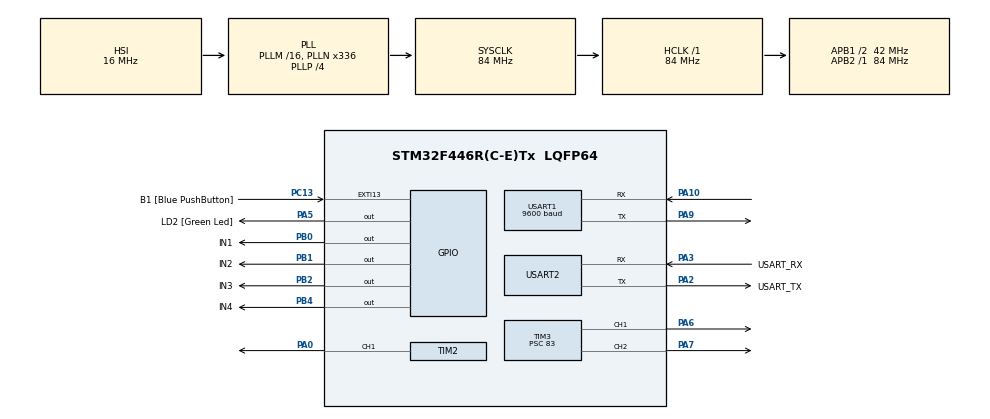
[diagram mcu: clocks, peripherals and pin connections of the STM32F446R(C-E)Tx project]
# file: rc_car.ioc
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Mcu.Family=STM32F4
Mcu.Name=STM32F446R(C-E)Tx
Mcu.Package=LQFP64
NVIC.PriorityGroup=NVIC_PRIORITYGROUP_0
NVIC.USART1_IRQn=true\:0\:0\:false\:false\:true\:true\:true\:true
PA0-WKUP.Signal=S_TIM2_CH1_ETR
PA10.Mode=Asynchronous
PA10.Signal=USART1_RX
PA13.GPIO_Label=TMS
PA13.Mode=Serial_Wire
PA13.Signal=SYS_JTMS-SWDIO
PA14.GPIO_Label=TCK
PA14.Mode=Serial_Wire
PA14.Signal=SYS_JTCK-SWCLK
PA2.GPIO_Label=USART_TX
PA2.Mode=Asynchronous
PA2.Signal=USART2_TX
PA3.GPIO_Label=USART_RX
PA3.Mode=Asynchronous
PA3.Signal=USART2_RX
PA5.GPIO_Label=LD2 [Green Led]
PA5.Signal=GPIO_Output
PA6.Signal=S_TIM3_CH1
PA7.Signal=S_TIM3_CH2
PA9.Mode=Asynchronous
PA9.Signal=USART1_TX
PB0.GPIO_Label=IN1
PB0.Signal=GPIO_Output
PB1.GPIO_Label=IN2
PB1.Signal=GPIO_Output
PB2.GPIO_Label=IN3
PB2.Signal=GPIO_Output
PB3.GPIO_Label=SWO
PB3.Signal=SYS_JTDO-SWO
PB4.GPIO_Label=IN4
PB4.Signal=GPIO_Output
PC13.GPIO_Label=B1 [Blue PushButton]
PC13.GPIO_ModeDefaultEXTI=GPIO_MODE_IT_FALLING
PC13.Signal=GPXTI13
PC14-OSC32_IN.Mode=LSE-External-Oscillator
PC14-OSC32_IN.Signal=RCC_OSC32_IN
PC15-OSC32_OUT.Mode=LSE-External-Oscillator
PC15-OSC32_OUT.Signal=RCC_OSC32_OUT
PH0-OSC_IN.Mode=HSE-External-Oscillator
PH0-OSC_IN.Signal=RCC_OSC_IN
PH1-OSC_OUT.Mode=HSE-External-Oscillator
PH1-OSC_OUT.Signal=RCC_OSC_OUT
ProjectManager.HeapSize=0x200
ProjectManager.StackSize=0x400
ProjectManager.TargetToolchain=STM32CubeIDE
RCC.48MHZClocksFreq_Value=84000000
RCC.AHBFreq_Value=84000000
RCC.APB1CLKDivider=RCC_HCLK_DIV2
RCC.APB1Freq_Value=42000000
RCC.APB1TimFreq_Value=84000000
RCC.APB2Freq_Value=84000000
RCC.APB2TimFreq_Value=84000000
RCC.CortexFreq_Value=84000000
RCC.FLatency-AdvancedSettings=FLASH_LATENCY_2
RCC.HCLKFreq_Value=84000000
RCC.HSE_VALUE=8000000
RCC.HSI_VALUE=16000000
RCC.PLLN=336
RCC.PLLP=RCC_PLLP_DIV4
RCC.SYSCLKFreq_VALUE=84000000
RCC.SYSCLKSource=RCC_SYSCLKSOURCE_PLLCLK
RCC.USBFreq_Value=168000000
RCC.VCOOutputFreq_Value=336000000
SH.S_TIM2_CH1_ETR.0=TIM2_CH1,PWM Generation1 CH1
SH.S_TIM3_CH1.0=TIM3_CH1,PWM Generation1 CH1
SH.S_TIM3_CH2.0=TIM3_CH2,PWM Generation2 CH2
TIM2.Channel-PWM\ Generation1\ CH1=TIM_CHANNEL_1
TIM2.Period=19999
TIM2.Prescaler=83
TIM2.Pulse-PWM\ Generation1\ CH1=1500
TIM3.Channel-PWM\ Generation1\ CH1=TIM_CHANNEL_1
TIM3.Channel-PWM\ Generation2\ CH2=TIM_CHANNEL_2
TIM3.Period=999
TIM3.Prescaler=83
USART1.BaudRate=9600
USART1.VirtualMode=VM_ASYNC
USART2.VirtualMode=VM_ASYNC
VP_TIM2_VS_ClockSourceINT.Mode=Internal
VP_TIM3_VS_ClockSourceINT.Mode=Internal
board=NUCLEO-F446RE

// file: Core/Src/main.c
/* USER CODE BEGIN Header */
/**
  ******************************************************************************
  * @file           : main.c
  * @brief          : Main program body
  ******************************************************************************
  * @attention
  *
  * Copyright (c) 2026 STMicroelectronics.
  * All rights reserved.
  *
  * This software is licensed under terms that can be found in the LICENSE file
  * in the root directory of this software component.
  * If no LICENSE file comes with this software, it is provided AS-IS.
  *
  ******************************************************************************
  */
/* USER CODE END Header */
#include "main.h"

/* USER CODE BEGIN PD */
/* 서보(조향) 펄스폭 범위 — 단위: us. TIM2가 1us 단위로 셈 */
#define SERVO_CENTER  1500   /* 정면 */
#define SERVO_LEFT    1100   /* 좌 최대 (안전 제한) */
#define SERVO_RIGHT   1900   /* 우 최대 (안전 제한) */

/* 모터 듀티 범위 — TIM3 Period(999) 기준, 0~999 = 0~100% */
#define MOTOR_MAX     999
/* USER CODE END PD */

TIM_HandleTypeDef htim2;
TIM_HandleTypeDef htim3;

UART_HandleTypeDef huart1;
UART_HandleTypeDef huart2;

/* USER CODE BEGIN PV */
uint8_t rx_byte;          /* 블루투스에서 받은 1바이트 */
int16_t cur_speed = 600;  /* 현재 속도단계 (0~999), 기본 600 */
/* USER CODE END PV */

void SystemClock_Config(void);
static void MX_GPIO_Init(void);
static void MX_USART2_UART_Init(void);
static void MX_USART1_UART_Init(void);
static void MX_TIM2_Init(void);
static void MX_TIM3_Init(void);
/* USER CODE BEGIN PFP */
void Servo_Write(uint16_t pulse_us);   /* 조향 서보 각도(펄스폭) 설정 */
void Motor_Drive(int16_t speed);       /* 구동모터 속도+방향 (-999~+999) */
/* USER CODE END PFP */

int main(void)
{

  /* MCU Configuration--------------------------------------------------------*/

  /* Reset of all peripherals, Initializes the Flash interface and the Systick. */
  HAL_Init();

  /* Configure the system clock */
  SystemClock_Config();

  /* Initialize all configured peripherals */
  MX_GPIO_Init();
  MX_USART2_UART_Init();
  MX_USART1_UART_Init();
  MX_TIM2_Init();
  MX_TIM3_Init();
  /* USER CODE BEGIN 2 */
  /* PWM 출력 시작 */
  HAL_TIM_PWM_Start(&htim2, TIM_CHANNEL_1);  /* 서보 */
  HAL_TIM_PWM_Start(&htim3, TIM_CHANNEL_1);  /* 모터L 속도(ENA) */
  HAL_TIM_PWM_Start(&htim3, TIM_CHANNEL_2);  /* 모터R 속도(ENB) */

  /* 시작 상태: 바퀴 정면 + 모터 정지 (안전) */
  Servo_Write(SERVO_CENTER);
  Motor_Drive(0);

  /* 블루투스 수신 시작 — 1바이트 받으면 인터럽트로 콜백 호출 */
  HAL_UART_Receive_IT(&huart1, &rx_byte, 1);
  /* USER CODE END 2 */

  /* Infinite loop */
  while (1)
  {

  }
}

void SystemClock_Config(void)
{
  RCC_OscInitTypeDef RCC_OscInitStruct = {0};
  RCC_ClkInitTypeDef RCC_ClkInitStruct = {0};

  /** Configure the main internal regulator output voltage
  */
  __HAL_RCC_PWR_CLK_ENABLE();
  __HAL_PWR_VOLTAGESCALING_CONFIG(PWR_REGULATOR_VOLTAGE_SCALE3);

  /** Initializes the RCC Oscillators according to the specified parameters
  * in the RCC_OscInitTypeDef structure.
  */
  RCC_OscInitStruct.OscillatorType = RCC_OSCILLATORTYPE_HSI;
  RCC_OscInitStruct.HSIState = RCC_HSI_ON;
  RCC_OscInitStruct.HSICalibrationValue = RCC_HSICALIBRATION_DEFAULT;
  RCC_OscInitStruct.PLL.PLLState = RCC_PLL_ON;
  RCC_OscInitStruct.PLL.PLLSource = RCC_PLLSOURCE_HSI;
  RCC_OscInitStruct.PLL.PLLM = 16;
  RCC_OscInitStruct.PLL.PLLN = 336;
  RCC_OscInitStruct.PLL.PLLP = RCC_PLLP_DIV4;
  RCC_OscInitStruct.PLL.PLLQ = 2;
  RCC_OscInitStruct.PLL.PLLR = 2;
  if (HAL_RCC_OscConfig(&RCC_OscInitStruct) != HAL_OK)
  {
    Error_Handler();
  }

  /** Initializes the CPU, AHB and APB buses clocks
  */
  RCC_ClkInitStruct.ClockType = RCC_CLOCKTYPE_HCLK|RCC_CLOCKTYPE_SYSCLK
                              |RCC_CLOCKTYPE_PCLK1|RCC_CLOCKTYPE_PCLK2;
  RCC_ClkInitStruct.SYSCLKSource = RCC_SYSCLKSOURCE_PLLCLK;
  RCC_ClkInitStruct.AHBCLKDivider = RCC_SYSCLK_DIV1;
  RCC_ClkInitStruct.APB1CLKDivider = RCC_HCLK_DIV2;
  RCC_ClkInitStruct.APB2CLKDivider = RCC_HCLK_DIV1;

  if (HAL_RCC_ClockConfig(&RCC_ClkInitStruct, FLASH_LATENCY_2) != HAL_OK)
  {
    Error_Handler();
  }
}

static void MX_TIM2_Init(void)
{

  TIM_ClockConfigTypeDef sClockSourceConfig = {0};
  TIM_MasterConfigTypeDef sMasterConfig = {0};
  TIM_OC_InitTypeDef sConfigOC = {0};

  htim2.Instance = TIM2;
  htim2.Init.Prescaler = 83;
  htim2.Init.CounterMode = TIM_COUNTERMODE_UP;
  htim2.Init.Period = 19999;
  htim2.Init.ClockDivision = TIM_CLOCKDIVISION_DIV1;
  htim2.Init.AutoReloadPreload = TIM_AUTORELOAD_PRELOAD_DISABLE;
  if (HAL_TIM_Base_Init(&htim2) != HAL_OK)
  {
    Error_Handler();
  }
  sClockSourceConfig.ClockSource = TIM_CLOCKSOURCE_INTERNAL;
  if (HAL_TIM_ConfigClockSource(&htim2, &sClockSourceConfig) != HAL_OK)
  {
    Error_Handler();
  }
  if (HAL_TIM_PWM_Init(&htim2) != HAL_OK)
  {
    Error_Handler();
  }
  sMasterConfig.MasterOutputTrigger = TIM_TRGO_RESET;
  sMasterConfig.MasterSlaveMode = TIM_MASTERSLAVEMODE_DISABLE;
  if (HAL_TIMEx_MasterConfigSynchronization(&htim2, &sMasterConfig) != HAL_OK)
  {
    Error_Handler();
  }
  sConfigOC.OCMode = TIM_OCMODE_PWM1;
  sConfigOC.Pulse = 1500;
  sConfigOC.OCPolarity = TIM_OCPOLARITY_HIGH;
  sConfigOC.OCFastMode = TIM_OCFAST_DISABLE;
  if (HAL_TIM_PWM_ConfigChannel(&htim2, &sConfigOC, TIM_CHANNEL_1) != HAL_OK)
  {
    Error_Handler();
  }
  HAL_TIM_MspPostInit(&htim2);

}

static void MX_TIM3_Init(void)
{

  TIM_ClockConfigTypeDef sClockSourceConfig = {0};
  TIM_MasterConfigTypeDef sMasterConfig = {0};
  TIM_OC_InitTypeDef sConfigOC = {0};

  htim3.Instance = TIM3;
  htim3.Init.Prescaler = 83;
  htim3.Init.CounterMode = TIM_COUNTERMODE_UP;
  htim3.Init.Period = 999;
  htim3.Init.ClockDivision = TIM_CLOCKDIVISION_DIV1;
  htim3.Init.AutoReloadPreload = TIM_AUTORELOAD_PRELOAD_DISABLE;
  if (HAL_TIM_Base_Init(&htim3) != HAL_OK)
  {
    Error_Handler();
  }
  sClockSourceConfig.ClockSource = TIM_CLOCKSOURCE_INTERNAL;
  if (HAL_TIM_ConfigClockSource(&htim3, &sClockSourceConfig) != HAL_OK)
  {
    Error_Handler();
  }
  if (HAL_TIM_PWM_Init(&htim3) != HAL_OK)
  {
    Error_Handler();
  }
  sMasterConfig.MasterOutputTrigger = TIM_TRGO_RESET;
  sMasterConfig.MasterSlaveMode = TIM_MASTERSLAVEMODE_DISABLE;
  if (HAL_TIMEx_MasterConfigSynchronization(&htim3, &sMasterConfig) != HAL_OK)
  {
    Error_Handler();
  }
  sConfigOC.OCMode = TIM_OCMODE_PWM1;
  sConfigOC.Pulse = 0;
  sConfigOC.OCPolarity = TIM_OCPOLARITY_HIGH;
  sConfigOC.OCFastMode = TIM_OCFAST_DISABLE;
  if (HAL_TIM_PWM_ConfigChannel(&htim3, &sConfigOC, TIM_CHANNEL_1) != HAL_OK)
  {
    Error_Handler();
  }
  if (HAL_TIM_PWM_ConfigChannel(&htim3, &sConfigOC, TIM_CHANNEL_2) != HAL_OK)
  {
    Error_Handler();
  }
  HAL_TIM_MspPostInit(&htim3);

}

static void MX_USART1_UART_Init(void)
{

  huart1.Instance = USART1;
  huart1.Init.BaudRate = 9600;
  huart1.Init.WordLength = UART_WORDLENGTH_8B;
  huart1.Init.StopBits = UART_STOPBITS_1;
  huart1.Init.Parity = UART_PARITY_NONE;
  huart1.Init.Mode = UART_MODE_TX_RX;
  huart1.Init.HwFlowCtl = UART_HWCONTROL_NONE;
  huart1.Init.OverSampling = UART_OVERSAMPLING_16;
  if (HAL_UART_Init(&huart1) != HAL_OK)
  {
    Error_Handler();
  }

}

static void MX_USART2_UART_Init(void)
{

  huart2.Instance = USART2;
  huart2.Init.BaudRate = 115200;
  huart2.Init.WordLength = UART_WORDLENGTH_8B;
  huart2.Init.StopBits = UART_STOPBITS_1;
  huart2.Init.Parity = UART_PARITY_NONE;
  huart2.Init.Mode = UART_MODE_TX_RX;
  huart2.Init.HwFlowCtl = UART_HWCONTROL_NONE;
  huart2.Init.OverSampling = UART_OVERSAMPLING_16;
  if (HAL_UART_Init(&huart2) != HAL_OK)
  {
    Error_Handler();
  }

}

static void MX_GPIO_Init(void)
{
  GPIO_InitTypeDef GPIO_InitStruct = {0};

  /* GPIO Ports Clock Enable */
  __HAL_RCC_GPIOC_CLK_ENABLE();
  __HAL_RCC_GPIOH_CLK_ENABLE();
  __HAL_RCC_GPIOA_CLK_ENABLE();
  __HAL_RCC_GPIOB_CLK_ENABLE();

  /*Configure GPIO pin Output Level */
  HAL_GPIO_WritePin(LD2_GPIO_Port, LD2_Pin, GPIO_PIN_RESET);

  /*Configure GPIO pin Output Level */
  HAL_GPIO_WritePin(GPIOB, IN1_Pin|IN2_Pin|IN3_Pin|IN4_Pin, GPIO_PIN_RESET);

  /*Configure GPIO pin : B1_Pin */
  GPIO_InitStruct.Pin = B1_Pin;
  GPIO_InitStruct.Mode = GPIO_MODE_IT_FALLING;
  GPIO_InitStruct.Pull = GPIO_NOPULL;
  HAL_GPIO_Init(B1_GPIO_Port, &GPIO_InitStruct);

  /*Configure GPIO pin : LD2_Pin */
  GPIO_InitStruct.Pin = LD2_Pin;
  GPIO_InitStruct.Mode = GPIO_MODE_OUTPUT_PP;
  GPIO_InitStruct.Pull = GPIO_NOPULL;
  GPIO_InitStruct.Speed = GPIO_SPEED_FREQ_LOW;
  HAL_GPIO_Init(LD2_GPIO_Port, &GPIO_InitStruct);

  /*Configure GPIO pins : IN1_Pin IN2_Pin IN3_Pin IN4_Pin */
  GPIO_InitStruct.Pin = IN1_Pin|IN2_Pin|IN3_Pin|IN4_Pin;
  GPIO_InitStruct.Mode = GPIO_MODE_OUTPUT_PP;
  GPIO_InitStruct.Pull = GPIO_NOPULL;
  GPIO_InitStruct.Speed = GPIO_SPEED_FREQ_LOW;
  HAL_GPIO_Init(GPIOB, &GPIO_InitStruct);

}

/* USER CODE BEGIN 4 */

/* 조향 서보: 펄스폭(us)으로 각도 지정. 안전범위 밖이면 잘라냄(clamp) */
void Servo_Write(uint16_t pulse_us)
{
  if (pulse_us < SERVO_LEFT)  pulse_us = SERVO_LEFT;
  if (pulse_us > SERVO_RIGHT) pulse_us = SERVO_RIGHT;
  __HAL_TIM_SET_COMPARE(&htim2, TIM_CHANNEL_1, pulse_us);
}

/* 구동모터 2개를 함께 제어.
 * speed > 0 : 전진, speed < 0 : 후진, 0 : 정지. 크기 = 속도(듀티) */
void Motor_Drive(int16_t speed)
{
  uint16_t duty;

  if (speed > 0) {                /* 전진: IN1/IN3=H, IN2/IN4=L */
    HAL_GPIO_WritePin(IN1_GPIO_Port, IN1_Pin, GPIO_PIN_SET);
    HAL_GPIO_WritePin(IN2_GPIO_Port, IN2_Pin, GPIO_PIN_RESET);
    HAL_GPIO_WritePin(IN3_GPIO_Port, IN3_Pin, GPIO_PIN_SET);
    HAL_GPIO_WritePin(IN4_GPIO_Port, IN4_Pin, GPIO_PIN_RESET);
    duty = (uint16_t)speed;
  } else if (speed < 0) {         /* 후진: 반대로 */
    HAL_GPIO_WritePin(IN1_GPIO_Port, IN1_Pin, GPIO_PIN_RESET);
    HAL_GPIO_WritePin(IN2_GPIO_Port, IN2_Pin, GPIO_PIN_SET);
    HAL_GPIO_WritePin(IN3_GPIO_Port, IN3_Pin, GPIO_PIN_RESET);
    HAL_GPIO_WritePin(IN4_GPIO_Port, IN4_Pin, GPIO_PIN_SET);
    duty = (uint16_t)(-speed);
  } else {                        /* 정지(코스트) */
    HAL_GPIO_WritePin(IN1_GPIO_Port, IN1_Pin, GPIO_PIN_RESET);
    HAL_GPIO_WritePin(IN2_GPIO_Port, IN2_Pin, GPIO_PIN_RESET);
    HAL_GPIO_WritePin(IN3_GPIO_Port, IN3_Pin, GPIO_PIN_RESET);
    HAL_GPIO_WritePin(IN4_GPIO_Port, IN4_Pin, GPIO_PIN_RESET);
    duty = 0;
  }

  if (duty > MOTOR_MAX) duty = MOTOR_MAX;
  __HAL_TIM_SET_COMPARE(&htim3, TIM_CHANNEL_1, duty);  /* 모터L */
  __HAL_TIM_SET_COMPARE(&htim3, TIM_CHANNEL_2, duty);  /* 모터R */
}

/* 블루투스(USART1)로 1바이트 수신될 때마다 자동 호출되는 콜백 */
void HAL_UART_RxCpltCallback(UART_HandleTypeDef *huart)
{
  if (huart->Instance == USART1) {
    switch (rx_byte) {
      case 'F': Motor_Drive(cur_speed);  Servo_Write(SERVO_CENTER); break; /* 전진 */
      case 'B': Motor_Drive(-cur_speed); Servo_Write(SERVO_CENTER); break; /* 후진 */
      case 'L': Servo_Write(SERVO_LEFT);  break;                           /* 좌 조향 */
      case 'R': Servo_Write(SERVO_RIGHT); break;                           /* 우 조향 */
      case 'S': Motor_Drive(0); Servo_Write(SERVO_CENTER); break;          /* 정지+정면 */
      default:
        if (rx_byte >= '0' && rx_byte <= '9') {
          cur_speed = (rx_byte - '0') * 111;   /* 0~9 → 0~999 속도단계 */
        }
        break;
    }

    /* 디버그: 받은 글자를 ST-Link 가상COM(USART2)으로 그대로 echo */
    HAL_UART_Transmit(&huart2, &rx_byte, 1, 10);

    /* 다음 1바이트 다시 수신 대기 (이걸 안 하면 한 번만 받고 멈춤!) */
    HAL_UART_Receive_IT(&huart1, &rx_byte, 1);
  }
}

/* USER CODE END 4 */

void Error_Handler(void)
{
  __disable_irq();
  while (1)
  {
  }
}
